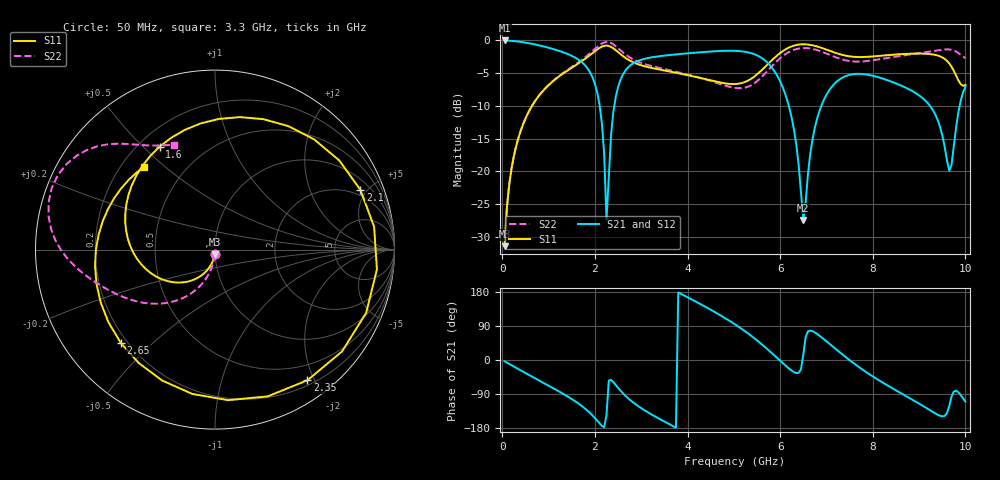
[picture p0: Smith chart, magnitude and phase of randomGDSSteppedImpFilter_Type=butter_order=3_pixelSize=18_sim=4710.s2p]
! freq	dB(S11)	phase(S11)	dB(S12)	phase(S12)
!  dB(S21)	phase(S21)	dB(S22)	phase(S22)
!S-par simulation data
#  GHz  S  DB  R 50
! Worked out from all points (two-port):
!   200 points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, 50 MHz to 10 GHz, reference 50 ohm
!   highest |S21| = -0.01 dB at 50 MHz (marker M1); lowest = -27.4 dB at 6.5 GHz (marker M2)
!   |S21| within 3 dB of the highest: start of sweep to 1.659 GHz; 2.981 GHz to 5.663 GHz (2.682 GHz wide, 62.1 % of centre)
!   lowest |S11| = -31.4 dB at 50 MHz (marker M3), VSWR 1.06, Z = 49.7 - j2.66 ohm
!   |S11| at or under -10 dB: start of sweep to 643.2 MHz
!   |S22| runs from -31.4 to -0.2 dB; largest |S21 - S12| = 0
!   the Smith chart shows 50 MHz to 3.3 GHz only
!   S11 on the Smith chart (normalised r, x): 50 MHz: 0.99, -0.05; 1.6 GHz: 0.28, +0.56; 2.1 GHz: 1.57, +4.52; 2.35 GHz: 0.27, -1.90; 2.65 GHz: 0.18, -0.40; 3.3 GHz: 0.29, +0.43
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0.05  -31.45 -94.3  -0.01 -3.5  -0.01 -3.5  -31.44 -92.6
0.45  -12.81 -129.4  -0.28 -31.0  -0.28 -31.0  -12.77 -113.5
1.6  -3.72 118.2  -2.74 -111.0  -2.74 -111.0  -3.57 -162.1
1.75  -3.00 96.4  -3.54 -124.5  -3.54 -124.5  -2.80 -167.8
2.1  -1.15 22.4  -9.83 -167.3  -9.83 -167.3  -0.72 172.9
2.25  -0.79 -22.7  -27.42 -146.0  -27.42 -146.0  -0.25 159.4
2.35  -1.00 -54.7  -14.31 -52.4  -14.31 -52.4  -0.41 149.9
2.65  -2.63 -135.2  -4.69 -93.4  -4.69 -93.4  -2.09 131.4
3.3  -4.33 130.4  -2.51 -149.0  -2.51 -149.0  -4.06 111.3
3.4  -4.47 120.2  -2.41 -155.8  -2.41 -155.8  -4.23 107.9
5.05  -6.66 8.5  -1.60 92.1  -1.60 92.1  -7.28 -2.8
5.75  -3.51 -16.1  -3.57 25.8  -3.57 25.8  -4.48 -118.4
6.15  -1.24 -44.4  -9.08 -18.3  -9.08 -18.3  -1.94 173.4
6.5  -0.60 -72.2  -27.43 14.1  -27.43 14.1  -1.17 116.2
6.7  -0.75 -86.8  -15.06 76.0  -15.06 76.0  -1.31 83.8
7.15  -1.79 -112.2  -6.80 34.0  -6.80 34.0  -2.44 8.1
7.6  -2.52 -128.6  -5.14 -9.6  -5.14 -9.6  -3.23 -67.4
8.35  -2.24 -157.6  -6.16 -69.4  -6.16 -69.4  -2.64 -162.6
9.1  -2.03 158.4  -8.97 -122.3  -8.97 -122.3  -1.85 129.2
9.55  -2.81 103.8  -16.16 -147.8  -16.16 -147.8  -1.40 86.9
9.8  -5.39 31.4  -13.24 -81.1  -13.24 -81.1  -1.71 58.1
10  -6.83 -60.4  -7.10 -109.7  -7.10 -109.7  -2.69 37.6
